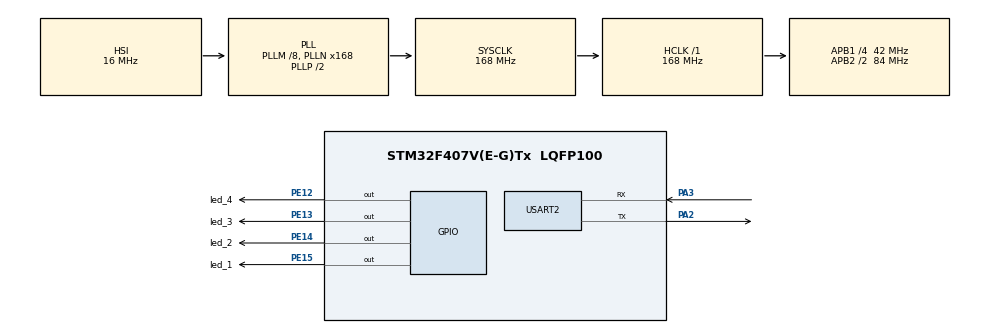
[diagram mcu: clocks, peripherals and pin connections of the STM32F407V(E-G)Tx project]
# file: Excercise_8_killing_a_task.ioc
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FREERTOS.Tasks01=defaultTask,24,128,StartDefaultTask,Default,NULL,Dynamic,NULL,NULL
FREERTOS.configUSE_NEWLIB_REENTRANT=0
Mcu.Family=STM32F4
Mcu.Name=STM32F407V(E-G)Tx
Mcu.Package=LQFP100
NVIC.PriorityGroup=NVIC_PRIORITYGROUP_4
NVIC.TIM1_UP_TIM10_IRQn=true\:15\:0\:false\:false\:true\:false\:false\:true\:true
NVIC.TimeBase=TIM1_UP_TIM10_IRQn
NVIC.TimeBaseIP=TIM1
PA2.Mode=Asynchronous
PA2.Signal=USART2_TX
PA3.Mode=Asynchronous
PA3.Signal=USART2_RX
PE12.GPIO_Label=led_4
PE12.Signal=GPIO_Output
PE13.GPIO_Label=led_3
PE13.Signal=GPIO_Output
PE14.GPIO_Label=led_2
PE14.Signal=GPIO_Output
PE15.GPIO_Label=led_1
PE15.Signal=GPIO_Output
ProjectManager.HeapSize=0x200
ProjectManager.StackSize=0x400
ProjectManager.TargetToolchain=STM32CubeIDE
RCC.48MHZClocksFreq_Value=84000000
RCC.AHBFreq_Value=168000000
RCC.APB1CLKDivider=RCC_HCLK_DIV4
RCC.APB1Freq_Value=42000000
RCC.APB1TimFreq_Value=84000000
RCC.APB2CLKDivider=RCC_HCLK_DIV2
RCC.APB2Freq_Value=84000000
RCC.APB2TimFreq_Value=168000000
RCC.CortexFreq_Value=168000000
RCC.HCLKFreq_Value=168000000
RCC.HSE_VALUE=25000000
RCC.HSI_VALUE=16000000
RCC.LSE_VALUE=32768
RCC.PLLM=8
RCC.PLLN=168
RCC.SYSCLKFreq_VALUE=168000000
RCC.SYSCLKSource=RCC_SYSCLKSOURCE_PLLCLK
RCC.VCOOutputFreq_Value=336000000
USART2.VirtualMode=VM_ASYNC
VP_FREERTOS_VS_CMSIS_V2.Mode=CMSIS_V2
VP_SYS_VS_tim1.Mode=TIM1
board=custom

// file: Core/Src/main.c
/* USER CODE BEGIN Header */
/**
  ******************************************************************************
  * @file           : main.c
  * @brief          : Main program body
  ******************************************************************************
  * @attention
  *
  * Copyright (c) 2023 STMicroelectronics.
  * All rights reserved.
  *
  * This software is licensed under terms that can be found in the LICENSE file
  * in the root directory of this software component.
  * If no LICENSE file comes with this software, it is provided AS-IS.
  *
  ******************************************************************************
  */

/*Este programa utiliza las varaibles task_handle_t praa cambiar las prioridades de tareas en tiempo
 * de ejecucion*/
/* USER CODE END Header */
#include "main.h"
#include "cmsis_os.h"

/* USER CODE BEGIN Includes */
#include "stdio.h"
#include "string.h"
/* USER CODE END Includes */

UART_HandleTypeDef huart2;

/* Definitions for defaultTask */

/* USER CODE BEGIN PV */
typedef uint32_t TaskProfiler_t ;

TaskProfiler_t 	a=0;
TaskProfiler_t	b=0;
TaskProfiler_t	c=0;

//pointers of the led
const uint16_t * Blue_led = (uint16_t *)led_1_Pin;
const uint16_t * Red_led = (uint16_t *)led_2_Pin;
const uint16_t * Green_led = (uint16_t *)led_3_Pin;
const uint16_t * Orange_led =(uint16_t *) led_4_Pin;

uint32_t green_task_priority,red_task_priority,blue_task_priority;

//creamos variables tipo task handle
TaskHandle_t BlueLedTask_Handle,RedLedTask_Handle,GreenLedTask_Handle;
/* USER CODE END PV */

void SystemClock_Config(void);
static void MX_GPIO_Init(void);
static void MX_USART2_UART_Init(void);
void StartDefaultTask(void *argument);

/* USER CODE BEGIN PFP */
void vLedControllerTask(void *pvParameters);//tarea de controlador de task
void vBlueLedControllerTask(void *pvParameters);//prototipo de funcion de tarea manejadora de leds
void vRedLedControllerTask(void *pvParameters);//prototipo de funcion de tarea manejadora de leds
void vGreenLedControllerTask(void *pvParameters);//prototipo de funcion de tarea manejadora de leds
void SerialUartSendString(char *ptr);
/* USER CODE END PFP */

int main(void)
{

  /* MCU Configuration--------------------------------------------------------*/

  /* Reset of all peripherals, Initializes the Flash interface and the Systick. */
  HAL_Init();

  /* Configure the system clock */
  SystemClock_Config();

  /* Initialize all configured peripherals */
  MX_GPIO_Init();
  MX_USART2_UART_Init();

  /* Init scheduler */

  /* Create the thread(s) */
  /* creation of defaultTask */

  /* USER CODE BEGIN RTOS_THREADS */
  /* add threads, ... */

  //este es otro metodo para controlar varios leds con solo una tareas
 /* xTaskCreate(vLedControllerTask,
  		  	  "Led main controller 1",100,(void *)Blue_led,1,NULL);
  xTaskCreate(vLedControllerTask,
  		  	  "Led main controller 2",100,(void *)Red_led,1,NULL);
  xTaskCreate(vLedControllerTask,
  		  	  "Led main controller 3",100,(void *)Green_led,1,NULL);
  xTaskCreate(vLedControllerTask,
  		  	  "Led main controller 4",100,(void *)Orange_led,1,NULL);*/

  xTaskCreate(vBlueLedControllerTask,
		  	  "Blue Led Controller",100,NULL,1,&BlueLedTask_Handle); //creamos la tarea 1
  xTaskCreate(vRedLedControllerTask,
 		  	  "Red Led Controller",100,NULL,1,&RedLedTask_Handle); //creamos la tarea 2
  xTaskCreate(vGreenLedControllerTask,
 		  	  "Green Led Controller",100,NULL,1,&GreenLedTask_Handle); //creamos la tarea 3

  vTaskStartScheduler();//star the scheduler
  /* USER CODE END RTOS_THREADS */

  /* Start scheduler */

  /* We should never get here as control is now taken by the scheduler */
  /* Infinite loop */
  while (1)
  {

    /* USER CODE BEGIN 3 */
	  //HAL_UART_Transmit(&huart2, (uint8_t *)&msg, 1, HAL_MAX_DELAY);
	  //HAL_Delay(1000);
	 //SerialUartSendString("Hola Mundo\n");
	printf("Hola mundo \n\r");
	  //HAL_Delay(1000);

  }

  /* USER CODE END 3 */
}

void SystemClock_Config(void)
{
  RCC_OscInitTypeDef RCC_OscInitStruct = {0};
  RCC_ClkInitTypeDef RCC_ClkInitStruct = {0};

  /** Configure the main internal regulator output voltage
  */
  __HAL_RCC_PWR_CLK_ENABLE();
  __HAL_PWR_VOLTAGESCALING_CONFIG(PWR_REGULATOR_VOLTAGE_SCALE1);

  /** Initializes the RCC Oscillators according to the specified parameters
  * in the RCC_OscInitTypeDef structure.
  */
  RCC_OscInitStruct.OscillatorType = RCC_OSCILLATORTYPE_HSI;
  RCC_OscInitStruct.HSIState = RCC_HSI_ON;
  RCC_OscInitStruct.HSICalibrationValue = RCC_HSICALIBRATION_DEFAULT;
  RCC_OscInitStruct.PLL.PLLState = RCC_PLL_ON;
  RCC_OscInitStruct.PLL.PLLSource = RCC_PLLSOURCE_HSI;
  RCC_OscInitStruct.PLL.PLLM = 8;
  RCC_OscInitStruct.PLL.PLLN = 168;
  RCC_OscInitStruct.PLL.PLLP = RCC_PLLP_DIV2;
  RCC_OscInitStruct.PLL.PLLQ = 4;
  if (HAL_RCC_OscConfig(&RCC_OscInitStruct) != HAL_OK)
  {
    Error_Handler();
  }

  /** Initializes the CPU, AHB and APB buses clocks
  */
  RCC_ClkInitStruct.ClockType = RCC_CLOCKTYPE_HCLK|RCC_CLOCKTYPE_SYSCLK
                              |RCC_CLOCKTYPE_PCLK1|RCC_CLOCKTYPE_PCLK2;
  RCC_ClkInitStruct.SYSCLKSource = RCC_SYSCLKSOURCE_PLLCLK;
  RCC_ClkInitStruct.AHBCLKDivider = RCC_SYSCLK_DIV1;
  RCC_ClkInitStruct.APB1CLKDivider = RCC_HCLK_DIV4;
  RCC_ClkInitStruct.APB2CLKDivider = RCC_HCLK_DIV2;

  if (HAL_RCC_ClockConfig(&RCC_ClkInitStruct, FLASH_LATENCY_5) != HAL_OK)
  {
    Error_Handler();
  }
}

static void MX_USART2_UART_Init(void)
{

  huart2.Instance = USART2;
  huart2.Init.BaudRate = 115200;
  huart2.Init.WordLength = UART_WORDLENGTH_8B;
  huart2.Init.StopBits = UART_STOPBITS_1;
  huart2.Init.Parity = UART_PARITY_NONE;
  huart2.Init.Mode = UART_MODE_TX_RX;
  huart2.Init.HwFlowCtl = UART_HWCONTROL_NONE;
  huart2.Init.OverSampling = UART_OVERSAMPLING_16;
  if (HAL_UART_Init(&huart2) != HAL_OK)
  {
    Error_Handler();
  }

}

static void MX_GPIO_Init(void)
{
  GPIO_InitTypeDef GPIO_InitStruct = {0};

  /* GPIO Ports Clock Enable */
  __HAL_RCC_GPIOA_CLK_ENABLE();
  __HAL_RCC_GPIOE_CLK_ENABLE();

  /*Configure GPIO pin Output Level */
  HAL_GPIO_WritePin(GPIOE, led_4_Pin|led_3_Pin|led_2_Pin|led_1_Pin, GPIO_PIN_RESET);

  /*Configure GPIO pins : led_4_Pin led_3_Pin led_2_Pin led_1_Pin */
  GPIO_InitStruct.Pin = led_4_Pin|led_3_Pin|led_2_Pin|led_1_Pin;
  GPIO_InitStruct.Mode = GPIO_MODE_OUTPUT_PP;
  GPIO_InitStruct.Pull = GPIO_NOPULL;
  GPIO_InitStruct.Speed = GPIO_SPEED_FREQ_LOW;
  HAL_GPIO_Init(GPIOE, &GPIO_InitStruct);

}

/* USER CODE BEGIN 4 */
/*printf definition*/
#ifdef __GNUC__
#define PUTCHAR_PROTOTYPE int __io_putchar(int ch)
#else
#define PUTCHAR_PROTOTYPE int fputc(int ch, FILE *f)
#endif

PUTCHAR_PROTOTYPE
{
  HAL_UART_Transmit(&huart2, (uint8_t *)&ch, 1, HAL_MAX_DELAY);
  return ch;
}

//tarea controladora de leds
void vLedControllerTask (void *pvParameters)
{
	int i;
	while (1)
	{
		//printf("vBlueLedControllerTask running... \n\r");
		a++;
		HAL_GPIO_TogglePin(led_1_GPIO_Port,(uint16_t) pvParameters);

	}

}

/*tarea controladora de led*/
void vBlueLedControllerTask(void *pvParameters)
{
	uint32_t cont1;
	while (1)
	{
		//printf("vBlueLedControllerTask running... \n\r");
		a++;
		HAL_GPIO_TogglePin(led_1_GPIO_Port, led_1_Pin);
		//vTaskDelay(1000);
		//for(cont1=0; cont1<70000;cont1++);
		//change the red led task priority
		//vTaskPrioritySet(NULL, 1);//CHANGE THE PRIORITY OF ALL TASK
		//get the priority of the task
		//printf("Priority of task are:gren:%d,red:%d,blue:%d\n\r",green_task_priority,
		//		red_task_priority,blue_task_priority);
		HAL_Delay(1000);
	}

}

//segunda tarea
void vRedLedControllerTask(void *pvParameters)
{
	uint32_t cont2;
	while (1)
	{
		//printf("RedLedControllerTask running... \n\r");

		b++;
		HAL_GPIO_TogglePin(led_2_GPIO_Port, led_2_Pin);
		HAL_Delay(1000);

		if(b>10)
		{
			//vTaskSuspend(BlueLedTask_Handle);

			//vTaskSuspend(RedLedTask_Handle);

		}

		//for(cont2=0; cont2<70000;cont2++);
		//change the green task priority
		//vTaskPrioritySet(GreenLedTask_Handle, 2);
	}

}
//tercera tarea
void vGreenLedControllerTask(void *pvParameters)
{

	uint32_t cont3;
	uint8_t conter=0;
	while (1)
	{
		//printf("GreenLedControllerTask running... \n\r");
		//HAL_GPIO_TogglePin(led_2_GPIO_Port, led_2_Pin);
		//HAL_GPIO_WritePin(led_2_GPIO_Port, led_2_Pin, GPIO_PIN_SET);
		c++;

		HAL_GPIO_TogglePin(led_3_GPIO_Port, led_3_Pin);
		HAL_Delay(1000);
		if(c>=20)
		{

			//vTaskResume(BlueLedTask_Handle);//resume the task after 20 ticks
			vTaskDelete(GreenLedTask_Handle);

		}
		/*for(cont3=0; cont3<70000;cont3++);

		conter++;
		if(conter>=200)
		{

			//turn off all leds
			HAL_GPIO_WritePin(led_1_GPIO_Port, led_1_Pin, GPIO_PIN_RESET);
			HAL_GPIO_WritePin(led_1_GPIO_Port, led_2_Pin, GPIO_PIN_RESET);
			HAL_GPIO_WritePin(led_1_GPIO_Port, led_3_Pin, GPIO_PIN_RESET);
			vTaskPrioritySet(BlueLedTask_Handle, 2);//set hihigh priority
			vTaskPrioritySet(RedLedTask_Handle, 1);//set low priority
			vTaskPrioritySet(GreenLedTask_Handle, 1);//set low riority
			 conter=0;
		}
		else
		{

			vTaskPrioritySet(BlueLedTask_Handle, 1);
		}
		*/
		//if(var>=5)
		//{

		//}

	}

}
/* USER CODE END 4 */

void HAL_TIM_PeriodElapsedCallback(TIM_HandleTypeDef *htim)
{
  if (htim->Instance == TIM1) {
    HAL_IncTick();
  }
}

void Error_Handler(void)
{
  __disable_irq();
  while (1)
  {
  }
}
